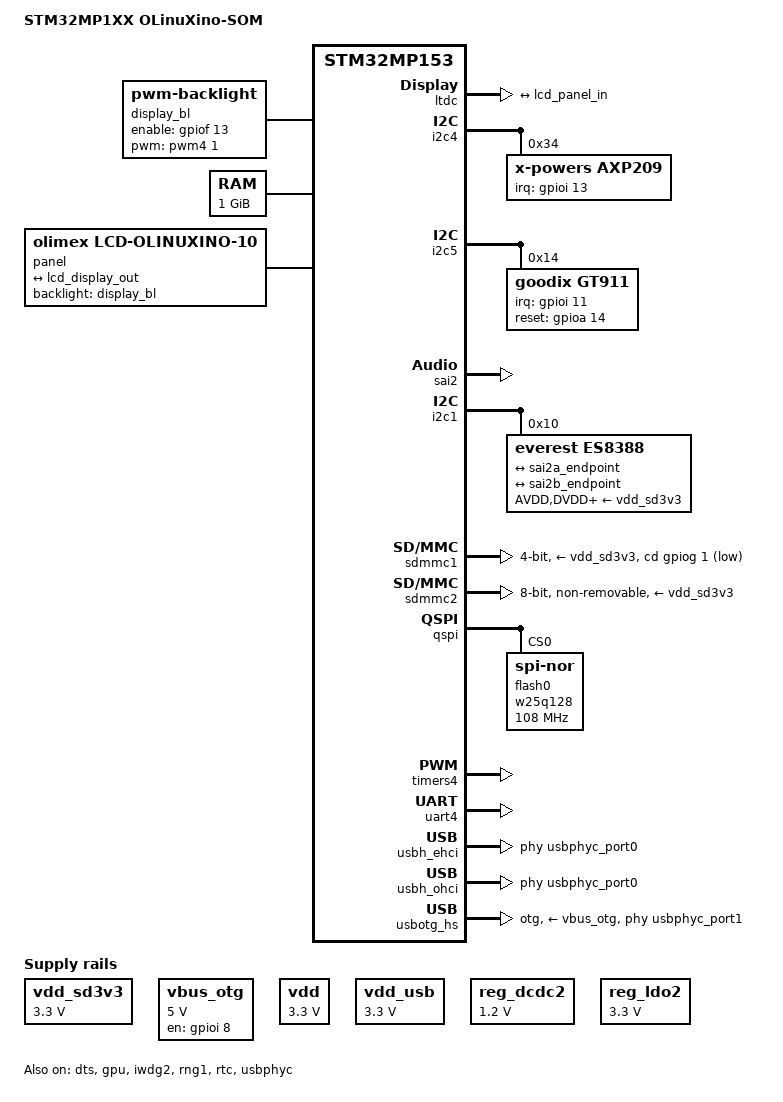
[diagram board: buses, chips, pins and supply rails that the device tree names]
// SPDX-License-Identifier: (GPL-2.0+ OR BSD-3-Clause)
/*
 * Copyright (C) STMicroelectronics 2017 - All Rights Reserved
 * Author: Ludovic Barre <ludovic.barre@st.com> for STMicroelectronics.
 */
/dts-v1/;

#include "stm32mp157.dtsi"
#include "stm32mp15xc.dtsi"
#include "stm32mp15-pinctrl.dtsi"
#include "stm32mp15xxaa-pinctrl.dtsi"

#include <dt-bindings/gpio/gpio.h>
#include <dt-bindings/mfd/st,stpmic1.h>
#include <dt-bindings/pwm/pwm.h>

/ {
	model = "STM32MP1XX OLinuXino-SOM";
	compatible = "olimex,stm32mp1xx-olinuxino-som" , "st,stm32mp153";
	aliases {
		serial0 = &uart4;
	};

	chosen {
		stdout-path = "serial0:115200n8";
	};
	display_bl: display-bl {
                compatible = "pwm-backlight";
		pwms = <&pwm4 1 500000 PWM_POLARITY_INVERTED>;
                brightness-levels = <0 10 20 30 40 50 60 70 80 90 100>;
                default-brightness-level = <10>;

                enable-gpios = <&gpiof 13 GPIO_ACTIVE_HIGH>;
                status = "okay";
        };

	memory@c0000000 {
		device_type = "memory";
		reg = <0xC0000000 0x40000000>;
	};

	reserved-memory {
		#address-cells = <1>;
		#size-cells = <1>;
		ranges;

		mcuram2: mcuram2@10000000 {
			compatible = "shared-dma-pool";
			reg = <0x10000000 0x40000>;
			no-map;
		};

		vdev0vring0: vdev0vring0@10040000 {
			compatible = "shared-dma-pool";
			reg = <0x10040000 0x1000>;
			no-map;
		};

		vdev0vring1: vdev0vring1@10041000 {
			compatible = "shared-dma-pool";
			reg = <0x10041000 0x1000>;
			no-map;
		};

		vdev0buffer: vdev0buffer@10042000 {
			compatible = "shared-dma-pool";
			reg = <0x10042000 0x4000>;
			no-map;
		};

		mcuram: mcuram@30000000 {
			compatible = "shared-dma-pool";
			reg = <0x30000000 0x40000>;
			no-map;
		};

		retram: retram@38000000 {
			compatible = "shared-dma-pool";
			reg = <0x38000000 0x10000>;
			no-map;
		};

		gpu_reserved: gpu@e8000000 {
			reg = <0xe8000000 0x8000000>;
			no-map;
		};
	};

	vdd_sd3v3: regulator_vdd {
		compatible = "regulator-fixed";
		regulator-name = "vdd-sd";
		regulator-min-microvolt = <3300000>;
		regulator-max-microvolt = <3300000>;
		enable-active-high;
		regulator-always-on;
		regulator-initial-mode = <0>;
		//regulator-over-current-protection;
	};
/*
	hdmi_3v3: regulator_hdmi {
		compatible = "regulator-fixed";
		regulator-name = "vdd-hdmi";
		regulator-min-microvolt = <3300000>;
		regulator-max-microvolt = <3300000>;
		enable-active-high;
		regulator-always-on;
		regulator-initial-mode = <0>;
	};

	hdmi_1v8: regulator_hdmi1v8 {
		compatible = "regulator-fixed";
		regulator-name = "vdd-hdmi1v8";
		regulator-min-microvolt = <1800000>;
		regulator-max-microvolt = <1800000>;
		enable-active-high;
		regulator-always-on;
		regulator-initial-mode = <0>;
	};

	hdmi_1v2: regulator_hdmi1v2 {
		compatible = "regulator-fixed";
		regulator-name = "vdd-hdmi1v2";
		regulator-min-microvolt = <1200000>;
		regulator-max-microvolt = <1200000>;
		enable-active-high;
		regulator-always-on;
		regulator-initial-mode = <0>;
	};
*/
	vbus_otg: regulator_otg {
		 compatible = "regulator-fixed";
                regulator-name = "vdd-otg";
                regulator-min-microvolt = <5000000>;
                regulator-max-microvolt = <5000000>;
                gpios = <&gpioi 8 GPIO_ACTIVE_LOW>;
                enable-active-high;

	};

	vdd: vdd {
		compatible = "regulator-fixed";
		regulator-name = "vdd";
		regulator-min-microvolt = <3300000>;
		regulator-max-microvolt = <3300000>;
		enable-active-high;
		regulator-always-on;
		regulator-initial-mode = <0>;
	};

	vdd_usb: vdd-usb {
		compatible = "regulator-fixed";
		regulator-name = "vdd-usb";
		regulator-min-microvolt = <3300000>;
		regulator-max-microvolt = <3300000>;
		enable-active-high;
		regulator-always-on;
		regulator-initial-mode = <0>;
		//regulator-over-current-protection;
	};

	panel {
		compatible = "olimex,lcd-olinuxino-10";
	             backlight = <&display_bl>;
                port {
                        lcd_panel_in: endpoint {
                                remote-endpoint = <&lcd_display_out>;
                        };
                };
        };

	sound {
                compatible = "audio-graph-card";
                label = "STM32MP1";
                routing =
                        "Playback" , "MCLK1",
			"Capture" , "MCLK1" ;
			
		dais = <&sai2a_port &sai2b_port>;
                status = "okay";
        };

};




&dts {
	status = "okay";
};

&ltdc {
	pinctrl-names = "default", "sleep";
	pinctrl-0 = <&ltdc_pins_b>;
	pinctrl-1 = <&ltdc_sleep_pins_b>;
	status = "okay";
	 port {
                lcd_display_out: endpoint {
                        remote-endpoint = <&lcd_panel_in>;
                };
        };

};

&gpu {
	contiguous-area = <&gpu_reserved>;
	status = "okay";
};


&i2c4 {
	pinctrl-names = "default";
	pinctrl-0 = <&i2c4_pins_a>;
	i2c-scl-rising-time-ns = <185>;
	i2c-scl-falling-time-ns = <20>;
	status = "okay";
	/* spare dmas for other usage */
	/delete-property/dmas;
	/delete-property/dma-names;

	axp209: pmic@34 {
               compatible = "x-powers,axp209";
                reg = <0x34>;
                interrupt-parent = <&gpioi>;
                interrupts = <13 IRQ_TYPE_LEVEL_LOW>;

               interrupt-controller;
               #interrupt-cells = <1>;
        };
 
};

&i2c5 {
        pinctrl-names = "default";
        pinctrl-0 = <&i2c5_pins_a>;
        i2c-scl-rising-time-ns = <185>;
        i2c-scl-falling-time-ns = <20>;
        status = "okay";
        /* spare dmas for other usage */
        /delete-property/dmas;
        /delete-property/dma-names;
	gt911@14 {
                                compatible = "goodix,gt911";
                                reg = <0x14>;

                                interrupt-parent = <&gpioi>;
                                interrupts = <11 IRQ_TYPE_EDGE_FALLING>;          /* PI11: IRQ_TYPE_EDGE_FALLING */

                                irq-gpios = <&gpioi 11 0>;      /* PH10 */
                                reset-gpios = <&gpioa 14 GPIO_ACTIVE_HIGH>;    /* PA14: GPIO_ACTIVE_HIGH */

                                touchscreen-swapped-x-y;
                        };

};

&sai2 {
        clocks = <&rcc SAI2>, <&rcc PLL3_Q>, <&rcc PLL3_R>;
        clock-names = "pclk", "x8k", "x11k";
        pinctrl-names = "default", "sleep";
        pinctrl-0 = <&sai2a_pins_a>, <&sai2b_pins_b>;
        pinctrl-1 = <&sai2a_sleep_pins_a>, <&sai2b_sleep_pins_b>;
        status = "okay";

	sai2a: audio-controller@4400b004 {
		compatible = "st,stm32-sai-sub-a";
                #clock-cells = <0>;
                dma-names = "tx";
                clocks = <&rcc SAI2_K>;
                clock-names = "sai_ck";
                status = "okay";
 
          
      sai2a_port: port {
                        sai2a_endpoint: endpoint {
                                remote-endpoint = <&es8388_tx_endpoint>;
                                format = "i2s";
				mclk-fs = <256>;
                        };
			
                };
        };

    sai2b: audio-controller@4400b024 {
                dma-names = "rx";
		compatible = "st,stm32-sai-sub-b";
                //st,sync = <&sai2a 2>;
                clocks = <&rcc SAI2_K>, <&sai2a>;
                clock-names = "sai_ck", "MCLK";
                status = "okay";

                sai2b_port: port {
                        sai2b_endpoint: endpoint {
                                remote-endpoint = <&es8388_rx_endpoint>;
                                format = "i2s";
                                mclk-fs = <256>;
                        };
                };
        };

};


&i2c1 {
        pinctrl-names = "default", "sleep";
        pinctrl-0 = <&i2c1_pins_a>;
        pinctrl-1 = <&i2c1_sleep_pins_a>;
/*      i2c-scl-rising-time-ns = <100>;
        i2c-scl-falling-time-ns = <7>;
*/
        status = "okay";
        /delete-property/dmas;
        /delete-property/dma-names;
	
	es8388: es8388@10 {
                compatible = "everest,es8388", "everest,es8328";
                reg = <0x10>;
                AVDD-supply = <&vdd_sd3v3>;
                DVDD-supply = <&vdd_sd3v3>;
                HPVDD-supply = <&vdd_sd3v3>;
                PVDD-supply = <&vdd_sd3v3>;
                clocks = <&sai2a>; 
                clock-names = "MCLK1";
       //         #sound-dai-cells = <0>;
		 es8388_port: port@0 {
                        #address-cells = <1>;
                        #size-cells = <0>;
                        es8388_tx_endpoint: endpoint@0 {
			        remote-endpoint = <&sai2a_endpoint>;
                        };

			es8388_rx_endpoint: endpoint@1 {
                                remote-endpoint = <&sai2b_endpoint>;
                        };

                };
		
 
        };

};
&ipcc {
	status = "okay";
};

&iwdg2 {
	timeout-sec = <32>;
	status = "okay";
};

&m4_rproc {
	memory-region = <&retram>, <&mcuram>, <&mcuram2>, <&vdev0vring0>,
			<&vdev0vring1>, <&vdev0buffer>;
	mboxes = <&ipcc 0>, <&ipcc 1>, <&ipcc 2>;
	mbox-names = "vq0", "vq1", "shutdown";
	interrupt-parent = <&exti>;
	interrupts = <68 1>;
	status = "disabled";
};


&pwr_regulators {
	vdd-supply = <&vdd>;
	vdd_3v3_usbfs-supply = <&vdd_usb>;
};

&rng1 {
	status = "okay";
};

&rtc {
	status = "okay";
};

#include "axp209.dtsi"

&ac_power_supply {
        status = "okay";
};

&battery_power_supply {
        status = "okay";
};

&reg_dcdc2 {
        regulator-always-on;
        regulator-min-microvolt = <1200000>; //vdd-cpu
        regulator-max-microvolt = <1200000>;
        regulator-name = "vdd-cpu";
};

&reg_ldo1 {
        regulator-name = "vdd-rtc";
};

&reg_ldo2 {
        regulator-always-on;
        regulator-min-microvolt = <3300000>;
        regulator-max-microvolt = <3300000>;
        regulator-name = "avcc"; //avcc
};

&sdmmc1 {
        pinctrl-names = "default", "opendrain", "sleep";
        pinctrl-0 = <&sdmmc1_b4_pins_a &sdmmc1_dir_pins_a>;
        pinctrl-1 = <&sdmmc1_b4_od_pins_a &sdmmc1_dir_pins_a>;
        pinctrl-2 = <&sdmmc1_b4_sleep_pins_a &sdmmc1_dir_sleep_pins_a>;
        cd-gpios = <&gpiog 1 (GPIO_ACTIVE_LOW | GPIO_PULL_UP)>;
        disable-wp;
	st,neg-edge;
        bus-width = <4>;
        vmmc-supply = <&vdd_sd3v3>;
        vqmmc-supply = <&vdd_sd3v3>;
        status = "okay";
};

&sdmmc2 {
	pinctrl-names = "default", "opendrain", "sleep";
	pinctrl-0 = <&sdmmc2_b4_pins_a &sdmmc2_d47_pins_a>;
	pinctrl-1 = <&sdmmc2_b4_od_pins_a &sdmmc2_d47_pins_a>;
	pinctrl-2 = <&sdmmc2_b4_sleep_pins_a &sdmmc2_d47_sleep_pins_a>;
	non-removable;
	st,neg-edge;
	bus-width = <8>;
	vmmc-supply = <&vdd_sd3v3>;
	vqmmc-supply = <&vdd_sd3v3>;
	status = "okay";
};

&qspi {
	pinctrl-names = "default", "sleep";
	pinctrl-0 = <&qspi_clk_pins_a &qspi_bk1_pins_a &qspi_bk2_pins_a>;
	pinctrl-1 = <&qspi_clk_sleep_pins_a &qspi_bk1_sleep_pins_a &qspi_bk2_sleep_pins_a>;
	reg = <0x58003000 0x1000>, <0x70000000 0x4000000>;
	#address-cells = <1>;
	#size-cells = <0>;
	status = "okay";

	flash0: w25q128@0 {
		compatible = "jedec,spi-nor", "winbond,w25q128";
		reg = <0>;
		spi-rx-bus-width = <4>;
		spi-max-frequency = <108000000>;
		#address-cells = <1>;
		#size-cells = <1>;
	};
};

&timers4 {
        /delete-property/dmas;
        /delete-property/dma-names;
        status = "okay";
        pwm4: pwm {
                pinctrl-0 = <&pwm4_pins_b>;
                pinctrl-names = "default";
                status = "okay";
        };
        timer@1 {
                status = "okay";
        };
};


&uart4 {
	pinctrl-names = "default";
	pinctrl-0 = <&uart4_pins_a>;
	status = "okay";
};

&usbh_ehci {
        phys = <&usbphyc_port0>;
        phy-names = "usb";
        status = "okay";
};

&usbh_ohci {
        phys = <&usbphyc_port0>, <&usbphyc_port1 0>;
        phy-names = "usb", "usb";
        status = "okay";
};

&usbotg_hs {
        dr_mode = "otg";
        pinctrl-0 = <&usbotg_hs_pins_a>;
        pinctrl-names = "default";
        phy-names = "usb2-phy";
        phys = <&usbphyc_port1 0>;
        vbus-supply = <&vbus_otg>;
        status = "okay";
};

&usbphyc {
        status = "okay";
};

&usbphyc_port0 {
        phy-supply = <&vdd_usb>;
};

&usbphyc_port1 {
        phy-supply = <&vdd_usb>;
};


